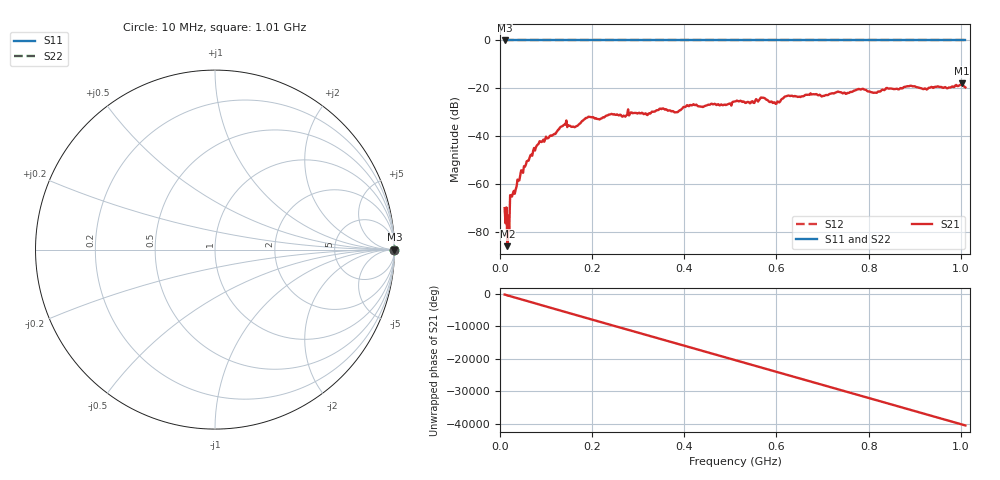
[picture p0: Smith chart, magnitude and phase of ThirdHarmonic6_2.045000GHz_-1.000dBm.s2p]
! 8/17/2025 12:31:31 AM
! C:\ANRITSUVNA\TEMP\TEMP.S2P
! CHANNEL.1
! TR.MEASUREMENT
! RAW.DATA
! RF.CORRECTION.OFF
! AVERAGING.OFF
! IF.BANDWIDTH: 5KHZ
! SWEEPTYPE:  FREQ.SWEEP(Linear)
! Reference Plane Port Info
! PORT:  PORT1  PORT2
! DISTANCE:  0  m  0  m
! TIME:  0  s  0  s
! PHASE.OFFSET:  0  deg.  0  deg.
! LOSS:  0  dB  0  dB
! REF.LOSS:  0  dB  0  dB
! REF.FREQ:  0  Hz  0  Hz
! Power Info
! POWER:  -20  dBm  -20  dBm
! EFF.POWER:  -20  dBm  -20  dBm
! SOURCE.ATTEN:  0  dB  0  dB
! TEST.ATTEN:  0  dB  0  dB
# GHZ S RI R 50.0
! FREQ.GHZ  S11RE  S11IM  S21RE  S21IM  S12RE  S12IM  S22RE  S22IM
!; PortSelection: Port_12
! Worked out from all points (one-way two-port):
!   501 points, 10 MHz to 1.01 GHz, reference 50 ohm
!   highest |S21| = -17.83 dB at 1.002 GHz (marker M1); lowest = -85.8 dB at 16 MHz (marker M2)
!   lowest |S11| = 0.0 dB at 10 MHz (marker M3)
!   |S11| at or under -10 dB: nowhere
!   |S22| runs from 0.0 to 0.0 dB; largest |S21 - S12| = 1.1
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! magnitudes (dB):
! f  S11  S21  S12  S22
! 10 MHz  0.0  -69.9  0.0  0.0
! 16 MHz  0.0  -85.8  0.0  0.0
! 26 MHz  0.0  -65.1  0.0  0.0
! 48 MHz  0.0  -54.4  0.0  0.0
! 82 MHz  0.0  -43.4  0.0  0.0
! 140 MHz  0.0  -35.1  0.0  0.0
! 160 MHz  0.0  -36.0  0.0  0.0
! 178 MHz  0.0  -33.6  0.0  0.0
! 344 MHz  0.0  -29.0  0.0  0.0
! 382 MHz  0.0  -29.9  0.0  0.0
! 416 MHz  0.0  -27.1  0.0  0.0
! 510 MHz  0.0  -25.4  0.0  0.0
! 548 MHz  0.0  -25.4  0.0  0.0
! 570 MHz  0.0  -23.9  0.0  0.0
! 596 MHz  0.0  -25.8  0.0  0.0
! 622 MHz  0.0  -23.2  0.0  0.0
! 678 MHz  0.0  -22.4  0.0  0.0
! 782 MHz  0.0  -20.4  0.0  0.0
! 814 MHz  0.0  -21.8  0.0  0.0
! 844 MHz  0.0  -20.1  0.0  0.0
! 1.002 GHz  0.0  -17.8  0.0  0.0
! 1.01 GHz  0.0  -19.6  0.0  0.0
